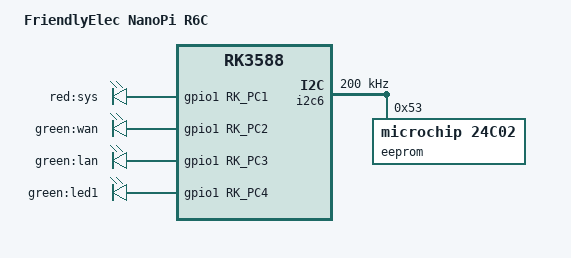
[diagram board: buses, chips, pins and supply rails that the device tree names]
// SPDX-License-Identifier: (GPL-2.0+ OR MIT)
/*
 * Copyright (c) 2022 FriendlyElec Computer Tech. Co., Ltd.
 * (http://www.friendlyelec.com)
 *
 * Copyright (c) 2021 Rockchip Electronics Co., Ltd.
 */

/dts-v1/;

#include "rk3588-nanopi6-common.dtsi"

/ {
	model = "FriendlyElec NanoPi R6C";
	compatible = "friendlyelec,nanopi-r6c", "rockchip,rk3588";

	aliases {
		mmc0 = &sdmmc;
		mmc1 = &sdhci;
		ethernet0 = &gmac1;
		serial2 = &uart2;
	};

	chosen {
		stdout-path = "serial2:1500000n8";
	};

	gpio_keys: gpio-keys {
		compatible = "gpio-keys";
		pinctrl-names = "default";
		pinctrl-0 = <&key1_pin>;
	};

	gpio_leds: gpio-leds {
		compatible = "gpio-leds";

		sys_led: led-sys {
			gpios = <&gpio1 RK_PC1 GPIO_ACTIVE_HIGH>;
			label = "red:sys";
			linux,default-trigger = "heartbeat";
			pinctrl-names = "default";
			pinctrl-0 = <&sys_led_pin>;
		};

		wan_led: led-wan {
			gpios = <&gpio1 RK_PC2 GPIO_ACTIVE_HIGH>;
			label = "green:wan";
			pinctrl-names = "default";
			pinctrl-0 = <&wan_led_pin>;
		};

		lan_led: led-lan {
			gpios = <&gpio1 RK_PC3 GPIO_ACTIVE_HIGH>;
			label = "green:lan";
			pinctrl-names = "default";
			pinctrl-0 = <&lan1_led_pin>;
		};

		led1_led: led-led1 {
			gpios = <&gpio1 RK_PC4 GPIO_ACTIVE_HIGH>;
			label = "green:led1";
			pinctrl-names = "default";
			pinctrl-0 = <&led1_led_pin>;
		};
	};
};


&pinctrl {
	gpio-key {
		key1_pin: key1-pin {
			rockchip,pins = <1 RK_PC0 RK_FUNC_GPIO &pcfg_pull_up>;
		};
	};

	gpio-leds {
		sys_led_pin: sys-led-pin {
			rockchip,pins =
				<1 RK_PC1 RK_FUNC_GPIO &pcfg_pull_none>;
		};

		wan_led_pin: wan-led-pin {
			rockchip,pins =
				<1 RK_PC2 RK_FUNC_GPIO &pcfg_pull_none>;
		};

		lan1_led_pin: lan1-led-pin {
			rockchip,pins =
				<1 RK_PC3 RK_FUNC_GPIO &pcfg_pull_none>;
		};

		led1_led_pin: led1-led-pin {
			rockchip,pins =
				<1 RK_PC4 RK_FUNC_GPIO &pcfg_pull_none>;
		};
	};

	usb {
		vcc5v0_host20_en: vcc5v0-host20-en {
			rockchip,pins = <4 RK_PB5 RK_FUNC_GPIO &pcfg_pull_none>;
		};
	};
};

&i2c6 {
	clock-frequency = <200000>;
	status = "okay";

	eeprom@53 {
		compatible = "microchip,24c02", "atmel,24c02";
		reg = <0x53>;
		#address-cells = <2>;
		#size-cells = <0>;
		pagesize = <16>;
		size = <256>;

		eui_48: eui-48@fa {
			reg = <0xfa 0x06>;
		};
	};
};
